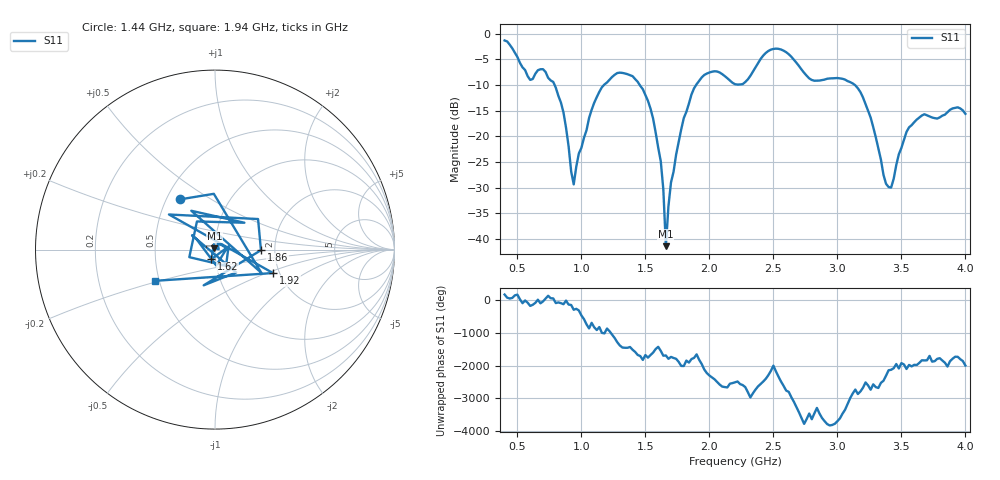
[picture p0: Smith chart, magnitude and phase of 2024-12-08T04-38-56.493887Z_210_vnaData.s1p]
!Created with skrf (http://scikit-rf.org).
# Hz S RI R 50.0
!freq ReS11 ImS11
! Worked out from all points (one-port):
!   181 points, 400 MHz to 4 GHz, reference 50 ohm
!   lowest |S11| = -41.4 dB at 1.66 GHz (marker M1), VSWR 1.02, Z = 49.7 + j0.793 ohm
!   |S11| at or under -10 dB: 791.1 MHz to 1.175 GHz (384.3 MHz wide, 39.1 % of centre); 1.456 GHz to 1.896 GHz (439.5 MHz wide, 26.2 % of centre); 3.138 GHz to end of sweep
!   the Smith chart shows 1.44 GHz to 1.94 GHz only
!   S11 on the Smith chart (normalised r, x): 1.44 GHz: 0.59, +0.37; 1.62 GHz: 0.96, -0.10; 1.86 GHz: 1.69, -0.01; 1.92 GHz: 1.85, -0.55; 1.94 GHz: 0.48, -0.19
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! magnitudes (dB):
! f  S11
! 400 MHz  -1.3
! 600 MHz  -9.0
! 720 MHz  -7.4
! 860 MHz  -15.3
! 940 MHz  -29.4
! 980 MHz  -23.3
! 1.1 GHz  -13.5
! 1.3 GHz  -7.6
! 1.44 GHz  -9.4
! 1.54 GHz  -14.6
! 1.62 GHz  -24.9
! 1.64 GHz  -30.3
! 1.66 GHz  -41.4
! 1.7 GHz  -29.0
! 1.76 GHz  -21.1
! 1.86 GHz  -11.8
! 1.92 GHz  -9.2
! 1.94 GHz  -8.5
! 2.2 GHz  -9.8
! 2.48 GHz  -3.1
! 2.66 GHz  -5.0
! 2.8 GHz  -9.0
! 3.1 GHz  -9.4
! 3.26 GHz  -16.4
! 3.4 GHz  -29.9
! 3.56 GHz  -18.2
! 3.68 GHz  -15.7
! 4 GHz  -15.6
